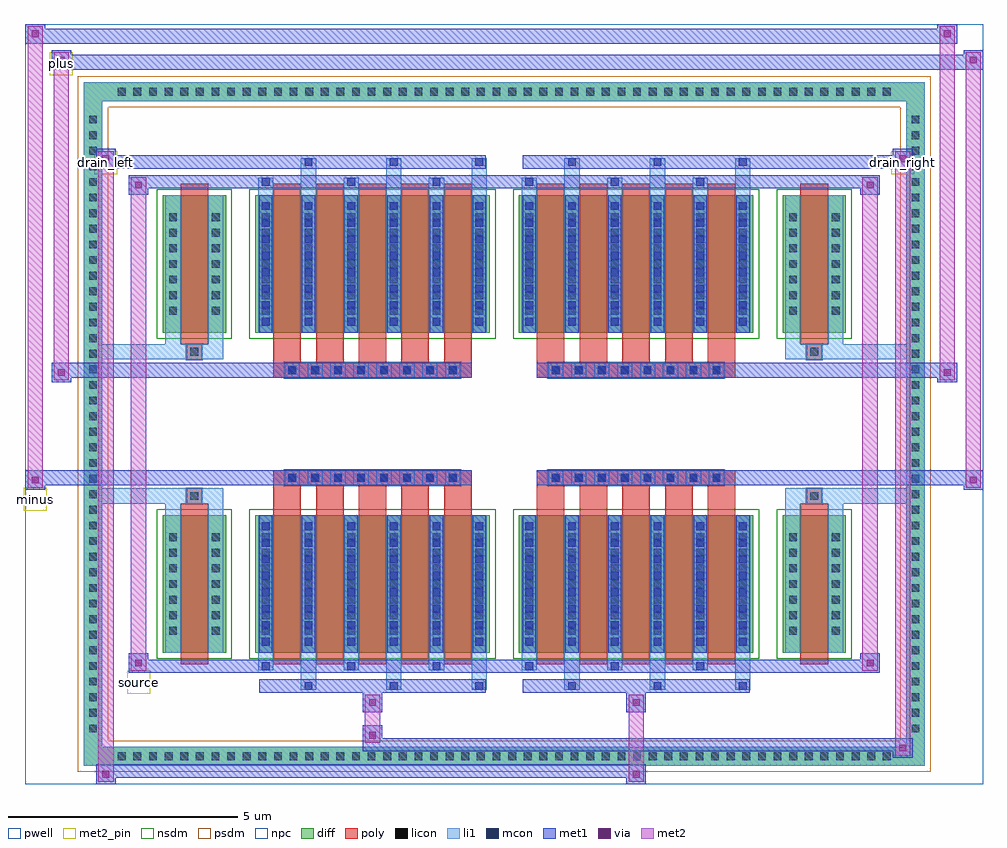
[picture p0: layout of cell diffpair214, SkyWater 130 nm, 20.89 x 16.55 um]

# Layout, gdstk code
import gdstk
lib = gdstk.Library(unit=1e-6, precision=5e-09)
def R(c, l, rs):  # rectangles x0, y0, x1, y1
    for r in rs: c.add(gdstk.rectangle(r[:2], r[2:], *l))
def A(c, l, x, y, w, h, nx, ny, dx, dy):  # array of equal rectangles
    R(c, l, [(x+i*dx, y+j*dy, x+i*dx+w, y+j*dy+h) for i in range(nx) for j in range(ny)])
def P(c, l, *ps):  # polygons
    for p in ps: c.add(gdstk.Polygon(p, *l))
pwell = (64, 44)
diff = (65, 20)
poly = (66, 20)
licon = (66, 44)
li1 = (67, 20)
mcon = (67, 44)
met1 = (68, 20)
via = (68, 44)
met2_pin = (69, 16)
met2 = (69, 20)
nsdm = (93, 44)
psdm = (94, 20)
npc = (95, 20)

diffpair214 = lib.new_cell('diffpair214')
R(diffpair214, pwell, [(-10.43,-7.84,10.43,8.71), (-7.75,-6.03,-0.01,-0.805), (0.01,-6.03,7.75,-0.805), (-7.75,0.805,-0.01,6.03), (0.01,0.805,7.75,6.03)])
A(diffpair214, diff, -8.535, -7.44, 0.41, 0.41, 50, 2, 0.34, 14.47)
A(diffpair214, diff, -9.16, -6.835, 0.41, 0.41, 1, 40, 0, 0.34)
A(diffpair214, diff, 8.75, -6.835, 0.41, 0.41, 1, 40, 0, 0.34)
R(diffpair214, diff, [(-8.535,-7.44,8.535,-7.03), (-9.16,-6.835,-8.75,6.835), (8.75,-6.835,9.16,6.835), (-7.44,-4.985,-6.06,-1.985), (-5.42,-4.985,-0.32,-1.985), (0.32,-4.985,5.42,-1.985), (6.06,-4.985,7.44,-1.985), (-7.44,1.985,-6.06,4.985), (-5.42,1.985,-0.32,4.985), (0.32,1.985,5.42,4.985), (6.06,1.985,7.44,4.985), (-8.535,7.03,8.535,7.44)])
P(diffpair214, diff, [(9.16,7.44),(-9.16,7.44),(-9.16,-7.03),(-8.75,-7.03),(-8.75,7.03),(8.75,7.03),(8.75,-7.03),(-8.75,-7.03),(-9.16,-7.03),(-9.16,-7.44),(9.16,-7.44)])
A(diffpair214, poly, -5.03, -5.235, 0.6, 3.5, 5, 2, 0.93, 6.97)
A(diffpair214, poly, 0.71, -5.235, 0.6, 3.5, 5, 2, 0.93, 6.97)
A(diffpair214, poly, -5.03, -1.735, 0.6, 0.4, 5, 2, 0.93, 3.07)
A(diffpair214, poly, 0.71, -1.735, 0.6, 0.4, 5, 2, 0.93, 3.07)
A(diffpair214, poly, -4.785, -1.335, 0.33, 0.33, 8, 2, 0.5, 2.34)
A(diffpair214, poly, 0.955, -1.335, 0.33, 0.33, 8, 2, 0.5, 2.34)
R(diffpair214, poly, [(-7.05,-5.235,-6.45,-1.735), (6.45,-5.235,7.05,-1.735), (-6.915,-1.735,-6.585,-1.405), (-6.915,-1.735,-6.585,-1.405), (6.585,-1.735,6.915,-1.405), (6.585,-1.735,6.915,-1.405), (-5.03,-1.335,-0.71,-1.005), (0.71,-1.335,5.03,-1.005), (-5.03,1.005,-0.71,1.335), (0.71,1.005,5.03,1.335), (-6.915,1.405,-6.585,1.735), (-6.915,1.405,-6.585,1.735), (6.585,1.405,6.915,1.735), (6.585,1.405,6.915,1.735), (-7.05,1.735,-6.45,5.235), (6.45,1.735,7.05,5.235)])
A(diffpair214, licon, -8.415, -7.32, 0.17, 0.17, 50, 2, 0.34, 14.47)
A(diffpair214, licon, -9.04, -6.715, 0.17, 0.17, 1, 40, 0, 0.34)
A(diffpair214, licon, 8.87, -6.715, 0.17, 0.17, 1, 40, 0, 0.34)
A(diffpair214, licon, -7.3, -4.59, 0.17, 0.17, 1, 7, 0, 0.34)
A(diffpair214, licon, -6.37, -4.59, 0.17, 0.17, 1, 7, 0, 0.34)
A(diffpair214, licon, -5.28, -4.59, 0.17, 0.17, 6, 7, 0.93, 0.34)
A(diffpair214, licon, 0.46, -4.59, 0.17, 0.17, 6, 7, 0.93, 0.34)
A(diffpair214, licon, 6.2, -4.59, 0.17, 0.17, 1, 7, 0, 0.34)
A(diffpair214, licon, 7.13, -4.59, 0.17, 0.17, 1, 7, 0, 0.34)
A(diffpair214, licon, -4.705, -1.255, 0.17, 0.17, 8, 2, 0.5, 2.34)
A(diffpair214, licon, 1.035, -1.255, 0.17, 0.17, 8, 2, 0.5, 2.34)
A(diffpair214, licon, -7.3, 2.38, 0.17, 0.17, 1, 7, 0, 0.34)
A(diffpair214, licon, -6.37, 2.38, 0.17, 0.17, 1, 7, 0, 0.34)
A(diffpair214, licon, -5.28, 2.38, 0.17, 0.17, 6, 7, 0.93, 0.34)
A(diffpair214, licon, 0.46, 2.38, 0.17, 0.17, 6, 7, 0.93, 0.34)
A(diffpair214, licon, 6.2, 2.38, 0.17, 0.17, 1, 7, 0, 0.34)
A(diffpair214, licon, 7.13, 2.38, 0.17, 0.17, 1, 7, 0, 0.34)
R(diffpair214, licon, [(-6.835,-1.655,-6.665,-1.485), (6.665,-1.655,6.835,-1.485), (-6.835,1.485,-6.665,1.655), (6.665,1.485,6.835,1.655)])
A(diffpair214, li1, -8.495, -7.4, 0.33, 0.33, 50, 2, 0.34, 14.47)
A(diffpair214, li1, -9.12, -6.795, 0.33, 0.33, 1, 40, 0, 0.34)
A(diffpair214, li1, 8.79, -6.795, 0.33, 0.33, 1, 40, 0, 0.34)
A(diffpair214, li1, -4.43, -5.79, 0.33, 0.805, 3, 2, 1.86, 10.775)
A(diffpair214, li1, -4.35, -5.79, 0.17, 0.17, 3, 2, 1.86, 11.41)
A(diffpair214, li1, 1.31, -5.79, 0.33, 0.805, 3, 2, 1.86, 10.775)
A(diffpair214, li1, 1.39, -5.79, 0.17, 0.17, 3, 2, 1.86, 11.41)
A(diffpair214, li1, -5.36, -5.36, 0.33, 0.375, 3, 2, 1.86, 10.345)
A(diffpair214, li1, -5.28, -5.36, 0.17, 0.17, 3, 2, 1.86, 10.55)
A(diffpair214, li1, 0.38, -5.36, 0.33, 0.375, 3, 2, 1.86, 10.345)
A(diffpair214, li1, 0.46, -5.36, 0.17, 0.17, 3, 2, 1.86, 10.55)
A(diffpair214, li1, -5.36, -4.985, 0.33, 3, 6, 2, 0.93, 6.97)
A(diffpair214, li1, 0.38, -4.985, 0.33, 3, 6, 2, 0.93, 6.97)
A(diffpair214, li1, -5.28, -4.83, 0.17, 0.17, 6, 8, 0.93, 0.36)
A(diffpair214, li1, -5.28, -4.83, 0.17, 2.69, 6, 2, 0.93, 6.97)
A(diffpair214, li1, 0.46, -4.83, 0.17, 0.17, 6, 8, 0.93, 0.36)
A(diffpair214, li1, 0.46, -4.83, 0.17, 2.69, 6, 2, 0.93, 6.97)
A(diffpair214, li1, -7.38, -4.67, 0.33, 0.33, 1, 7, 0, 0.34)
A(diffpair214, li1, -6.45, -4.67, 0.33, 0.33, 1, 7, 0, 0.34)
A(diffpair214, li1, -5.36, -4.67, 0.33, 0.33, 6, 7, 0.93, 0.34)
A(diffpair214, li1, 0.38, -4.67, 0.33, 0.33, 6, 7, 0.93, 0.34)
A(diffpair214, li1, 6.12, -4.67, 0.33, 0.33, 1, 7, 0, 0.34)
A(diffpair214, li1, 7.05, -4.67, 0.33, 0.33, 1, 7, 0, 0.34)
A(diffpair214, li1, -4.785, -1.335, 0.33, 0.33, 8, 2, 0.5, 2.34)
A(diffpair214, li1, 0.955, -1.335, 0.33, 0.33, 8, 2, 0.5, 2.34)
A(diffpair214, li1, -5.28, 2.14, 0.17, 0.17, 6, 8, 0.93, 0.36)
A(diffpair214, li1, 0.46, 2.14, 0.17, 0.17, 6, 8, 0.93, 0.36)
A(diffpair214, li1, -7.38, 2.3, 0.33, 0.33, 1, 7, 0, 0.34)
A(diffpair214, li1, -6.45, 2.3, 0.33, 0.33, 1, 7, 0, 0.34)
A(diffpair214, li1, -5.36, 2.3, 0.33, 0.33, 6, 7, 0.93, 0.34)
A(diffpair214, li1, 0.38, 2.3, 0.33, 0.33, 6, 7, 0.93, 0.34)
A(diffpair214, li1, 6.12, 2.3, 0.33, 0.33, 1, 7, 0, 0.34)
A(diffpair214, li1, 7.05, 2.3, 0.33, 0.33, 1, 7, 0, 0.34)
R(diffpair214, li1, [(-9.16,-7.44,-8.75,-7.03), (-9.16,-7.44,-8.75,-7.03), (-8.75,-7.44,8.75,-7.03), (8.75,-7.44,9.16,-7.03), (8.75,-7.44,9.16,-7.03), (-9.16,-7.03,-8.75,7.03), (8.75,-7.03,9.16,7.03), (-7.38,-4.985,-7.05,-1.985), (-6.45,-4.985,-6.12,-1.985), (6.12,-4.985,6.45,-1.985), (7.05,-4.985,7.38,-1.985), (-7.38,-1.985,-7.05,-1.405), (-6.45,-1.985,-6.12,-1.405), (6.12,-1.985,6.45,-1.405), (7.05,-1.985,7.38,-1.405), (-9.16,-1.735,-6.915,-1.405), (-7.38,-1.735,-6.915,-1.405), (-6.915,-1.735,-6.585,-1.405), (-6.585,-1.735,-6.12,-1.405), (6.12,-1.735,6.585,-1.405), (6.585,-1.735,6.915,-1.405), (6.585,-1.735,9.16,-1.405), (6.915,-1.735,7.38,-1.405), (-9.16,1.405,-6.915,1.735), (-7.38,1.405,-6.915,1.735), (-7.38,1.405,-7.05,1.985), (-6.915,1.405,-6.585,1.735), (-6.585,1.405,-6.12,1.735), (-6.45,1.405,-6.12,1.985), (6.12,1.405,6.585,1.735), (6.12,1.405,6.45,1.985), (6.585,1.405,6.915,1.735), (6.585,1.405,9.16,1.735), (6.915,1.405,7.38,1.735), (7.05,1.405,7.38,1.985), (-7.38,1.985,-7.05,4.985), (-6.45,1.985,-6.12,4.985), (6.12,1.985,6.45,4.985), (7.05,1.985,7.38,4.985), (-9.16,7.03,-8.75,7.44), (-9.16,7.03,-8.75,7.44), (-8.75,7.03,8.75,7.44), (8.75,7.03,9.16,7.44), (8.75,7.03,9.16,7.44)])
A(diffpair214, mcon, -4.35, -5.79, 0.17, 0.17, 3, 2, 1.86, 11.41)
A(diffpair214, mcon, 1.39, -5.79, 0.17, 0.17, 3, 2, 1.86, 11.41)
A(diffpair214, mcon, -5.28, -5.36, 0.17, 0.17, 3, 2, 1.86, 10.55)
A(diffpair214, mcon, 0.46, -5.36, 0.17, 0.17, 3, 2, 1.86, 10.55)
A(diffpair214, mcon, -5.28, -4.83, 0.17, 0.17, 6, 8, 0.93, 0.36)
A(diffpair214, mcon, 0.46, -4.83, 0.17, 0.17, 6, 8, 0.93, 0.36)
A(diffpair214, mcon, -4.705, -1.255, 0.17, 0.17, 8, 2, 0.5, 2.34)
A(diffpair214, mcon, 1.035, -1.255, 0.17, 0.17, 8, 2, 0.5, 2.34)
A(diffpair214, mcon, -5.28, 2.14, 0.17, 0.17, 6, 8, 0.93, 0.36)
A(diffpair214, mcon, 0.46, 2.14, 0.17, 0.17, 6, 8, 0.93, 0.36)
A(diffpair214, met1, -4.41, -5.85, 0.29, 0.29, 3, 2, 1.86, 11.41)
A(diffpair214, met1, 1.33, -5.85, 0.29, 0.29, 3, 2, 1.86, 11.41)
A(diffpair214, met1, -5.34, -5.42, 0.29, 0.29, 3, 2, 1.86, 10.55)
A(diffpair214, met1, 0.4, -5.42, 0.29, 0.29, 3, 2, 1.86, 10.55)
A(diffpair214, met1, -5.34, -4.985, 0.29, 3, 6, 2, 0.93, 6.97)
A(diffpair214, met1, 0.4, -4.985, 0.29, 3, 6, 2, 0.93, 6.97)
A(diffpair214, met1, -5.34, -4.89, 0.29, 0.29, 6, 8, 0.93, 0.36)
A(diffpair214, met1, 0.4, -4.89, 0.29, 0.29, 6, 8, 0.93, 0.36)
A(diffpair214, met1, -4.765, -1.315, 0.29, 0.29, 8, 2, 0.5, 2.34)
A(diffpair214, met1, 0.975, -1.315, 0.29, 0.29, 8, 2, 0.5, 2.34)
A(diffpair214, met1, -5.34, 2.08, 0.29, 0.29, 6, 8, 0.93, 0.36)
A(diffpair214, met1, 0.4, 2.08, 0.29, 0.29, 6, 8, 0.93, 0.36)
R(diffpair214, met1, [(-8.89,-7.84,-8.46,-7.41), (2.655,-7.84,3.085,-7.41), (-8.89,-7.7,3.085,-7.41), (8.46,-7.27,8.89,-6.84), (-3.085,-7.13,8.89,-6.84), (-3.085,-6.99,-2.655,-6.56), (-3.085,-6.28,-2.655,-5.85), (2.655,-6.28,3.085,-5.85), (-5.34,-5.85,-0.4,-5.56), (0.4,-5.85,5.34,-5.56), (-8.18,-5.42,-7.75,-4.99), (-8.18,-5.42,-5.34,-5.13), (-5.34,-5.42,-0.4,-5.13), (-0.4,-5.42,0.4,-5.13), (0.4,-5.42,5.34,-5.13), (5.34,-5.42,8.18,-5.13), (7.75,-5.42,8.18,-4.99), (-10.43,-1.435,-10,-1.005), (10,-1.435,10.43,-1.005), (-10.43,-1.335,-0.71,-1.005), (-5.03,-1.335,-0.71,-1.005), (0.71,-1.335,5.03,-1.005), (0.71,-1.335,10.43,-1.005), (-9.86,0.905,-9.43,1.335), (9.43,0.905,9.86,1.335), (-9.86,1.005,-5.03,1.335), (-5.03,1.005,-0.71,1.335), (0.71,1.005,5.03,1.335), (5.03,1.005,9.86,1.335), (-8.18,4.99,-7.75,5.42), (7.75,4.99,8.18,5.42), (-8.18,5.13,-5.34,5.42), (-5.34,5.13,-0.4,5.42), (-0.4,5.13,0.4,5.42), (0.4,5.13,5.34,5.42), (5.34,5.13,8.18,5.42), (-8.89,5.56,-8.46,5.99), (-8.89,5.56,-5.34,5.85), (-5.34,5.56,-0.4,5.85), (0.4,5.56,5.34,5.85), (5.34,5.56,8.89,5.85), (8.46,5.56,8.89,5.99), (-9.86,7.71,-9.43,8.14), (-9.86,7.71,-7.75,8.04), (-7.75,7.71,7.75,8.04), (7.75,7.71,10.43,8.04), (10,7.71,10.43,8.14), (-10.43,8.28,-10,8.71), (-10.43,8.28,-7.75,8.61), (-7.75,8.28,7.75,8.61), (7.75,8.28,9.86,8.61), (9.43,8.28,9.86,8.71)])
R(diffpair214, via, [(-8.75,-7.7,-8.6,-7.55), (2.795,-7.7,2.945,-7.55), (8.6,-7.13,8.75,-6.98), (-2.945,-6.85,-2.795,-6.7), (-2.945,-6.14,-2.795,-5.99), (2.795,-6.14,2.945,-5.99), (-8.04,-5.28,-7.89,-5.13), (7.89,-5.28,8.04,-5.13), (-10.29,-1.295,-10.14,-1.145), (10.14,-1.295,10.29,-1.145), (-9.72,1.045,-9.57,1.195), (9.57,1.045,9.72,1.195), (-8.04,5.13,-7.89,5.28), (7.89,5.13,8.04,5.28), (-8.75,5.7,-8.6,5.85), (8.6,5.7,8.75,5.85), (-9.72,7.85,-9.57,8), (10.14,7.85,10.29,8), (-10.29,8.42,-10.14,8.57), (9.57,8.42,9.72,8.57)])
R(diffpair214, met2_pin, [(-8.215,-5.87,-7.715,-5.37), (-10.465,-1.885,-9.965,-1.385), (-8.925,5.44,-8.425,5.94), (8.425,5.44,8.925,5.94), (-9.895,7.59,-9.395,8.09)])
R(diffpair214, met2, [(-8.84,-7.79,-8.51,-7.46), (-8.84,-7.79,-8.51,5.94), (2.705,-7.79,3.035,-7.46), (2.705,-7.46,3.035,-6.23), (8.51,-7.22,8.84,-6.89), (8.51,-7.22,8.84,5.94), (-3.035,-6.94,-2.705,-6.61), (-3.035,-6.61,-2.705,-6.23), (-3.035,-6.23,-2.705,-5.9), (2.705,-6.23,3.035,-5.9), (-8.13,-5.37,-7.8,-5.04), (-8.13,-5.37,-7.8,5.37), (7.8,-5.37,8.13,-5.04), (7.8,-5.37,8.13,5.37), (-10.38,-1.385,-10.05,-1.055), (-10.38,-1.385,-10.05,8.66), (10.05,-1.385,10.38,-1.055), (10.05,-1.385,10.38,8.09), (-9.81,0.955,-9.48,1.285), (-9.81,0.955,-9.48,8.09), (9.48,0.955,9.81,1.285), (9.48,0.955,9.81,8.66), (-8.13,5.04,-7.8,5.37), (7.8,5.04,8.13,5.37), (-8.84,5.61,-8.51,5.94), (8.51,5.61,8.84,5.94), (-9.81,7.76,-9.48,8.09), (10.05,7.76,10.38,8.09), (-10.38,8.33,-10.05,8.66), (9.48,8.33,9.81,8.66)])
P(diffpair214, met2, [(10.38,-1.385),(10.38,-1.385),(10.38,-1.055),(10.38,-1.055)],
  [(10.38,7.76),(10.38,7.76),(10.38,8.09),(10.38,8.09)],
  [(-10.05,-1.385),(-10.05,-1.385),(-10.05,-1.055),(-10.05,-1.055)],
  [(-10.05,8.33),(-10.05,8.33),(-10.05,8.66),(-10.05,8.66)],
  [(9.81,0.955),(9.81,0.955),(9.81,1.285),(9.81,1.285)],
  [(9.81,8.33),(9.81,8.33),(9.81,8.66),(9.81,8.66)],
  [(-9.48,0.955),(-9.48,0.955),(-9.48,1.285),(-9.48,1.285)],
  [(-9.48,7.76),(-9.48,7.76),(-9.48,8.09),(-9.48,8.09)],
  [(-8.51,-7.79),(-8.51,-7.79),(-8.51,-7.46),(-8.51,-7.46)],
  [(-8.51,5.61),(-8.51,5.61),(-8.51,5.94),(-8.51,5.94)],
  [(8.84,-7.22),(8.84,-7.22),(8.84,-6.89),(8.84,-6.89)],
  [(8.84,5.61),(8.84,5.61),(8.84,5.94),(8.84,5.94)],
  [(-7.8,-5.37),(-7.8,-5.37),(-7.8,-5.04),(-7.8,-5.04)],
  [(-7.8,5.04),(-7.8,5.04),(-7.8,5.37),(-7.8,5.37)],
  [(8.13,-5.37),(8.13,-5.37),(8.13,-5.04),(8.13,-5.04)],
  [(8.13,5.04),(8.13,5.04),(8.13,5.37),(8.13,5.37)])
R(diffpair214, nsdm, [(-7.57,-5.115,-5.93,-1.855), (-5.55,-5.115,-0.19,-1.855), (0.19,-5.115,5.55,-1.855), (5.93,-5.115,7.57,-1.855), (-7.57,1.855,-5.93,5.115), (-5.55,1.855,-0.19,5.115), (0.19,1.855,5.55,5.115), (5.93,1.855,7.57,5.115)])
P(diffpair214, psdm, [(9.29,7.57),(-9.29,7.57),(-9.29,-6.9),(-8.62,-6.9),(-8.62,6.9),(8.62,6.9),(8.62,-6.9),(-8.62,-6.9),(-9.29,-6.9),(-9.29,-7.57),(9.29,-7.57)])
A(diffpair214, npc, -4.805, -1.355, 0.37, 0.37, 8, 2, 0.5, 2.34)
A(diffpair214, npc, 0.935, -1.355, 0.37, 0.37, 8, 2, 0.5, 2.34)
R(diffpair214, npc, [(-6.935,-1.755,-6.565,-1.385), (6.565,-1.755,6.935,-1.385), (-4.805,-1.355,-3.935,-0.985), (-4.805,-1.355,-3.935,-0.985), (-4.305,-1.355,-3.435,-0.985), (-4.305,-1.355,-3.435,-0.985), (-3.805,-1.355,-2.935,-0.985), (-3.805,-1.355,-2.935,-0.985), (-3.305,-1.355,-2.435,-0.985), (-3.305,-1.355,-2.435,-0.985), (-2.805,-1.355,-1.935,-0.985), (-2.805,-1.355,-1.935,-0.985), (-2.305,-1.355,-1.435,-0.985), (-2.305,-1.355,-1.435,-0.985), (-1.805,-1.355,-0.935,-0.985), (-1.805,-1.355,-0.935,-0.985), (0.935,-1.355,1.805,-0.985), (0.935,-1.355,1.805,-0.985), (1.435,-1.355,2.305,-0.985), (1.435,-1.355,2.305,-0.985), (1.935,-1.355,2.805,-0.985), (1.935,-1.355,2.805,-0.985), (2.435,-1.355,3.305,-0.985), (2.435,-1.355,3.305,-0.985), (2.935,-1.355,3.805,-0.985), (2.935,-1.355,3.805,-0.985), (3.435,-1.355,4.305,-0.985), (3.435,-1.355,4.305,-0.985), (3.935,-1.355,4.805,-0.985), (3.935,-1.355,4.805,-0.985), (-4.805,0.985,-3.935,1.355), (-4.805,0.985,-3.935,1.355), (-4.305,0.985,-3.435,1.355), (-4.305,0.985,-3.435,1.355), (-3.805,0.985,-2.935,1.355), (-3.805,0.985,-2.935,1.355), (-3.305,0.985,-2.435,1.355), (-3.305,0.985,-2.435,1.355), (-2.805,0.985,-1.935,1.355), (-2.805,0.985,-1.935,1.355), (-2.305,0.985,-1.435,1.355), (-2.305,0.985,-1.435,1.355), (-1.805,0.985,-0.935,1.355), (-1.805,0.985,-0.935,1.355), (0.935,0.985,1.805,1.355), (0.935,0.985,1.805,1.355), (1.435,0.985,2.305,1.355), (1.435,0.985,2.305,1.355), (1.935,0.985,2.805,1.355), (1.935,0.985,2.805,1.355), (2.435,0.985,3.305,1.355), (2.435,0.985,3.305,1.355), (2.935,0.985,3.805,1.355), (2.935,0.985,3.805,1.355), (3.435,0.985,4.305,1.355), (3.435,0.985,4.305,1.355), (3.935,0.985,4.805,1.355), (3.935,0.985,4.805,1.355), (-6.935,1.385,-6.565,1.755), (6.565,1.385,6.935,1.755)])
diffpair214.add(gdstk.Label('minus', (-10.215,-1.635), layer=69, texttype=5))
diffpair214.add(gdstk.Label('drain_right', (8.675,5.69), layer=69, texttype=5))
diffpair214.add(gdstk.Label('drain_left', (-8.675,5.69), layer=69, texttype=5))
diffpair214.add(gdstk.Label('source', (-7.965,-5.62), layer=69, texttype=5))
diffpair214.add(gdstk.Label('plus', (-9.645,7.84), layer=69, texttype=5))

lib.write_gds('diffpair214.gds')
